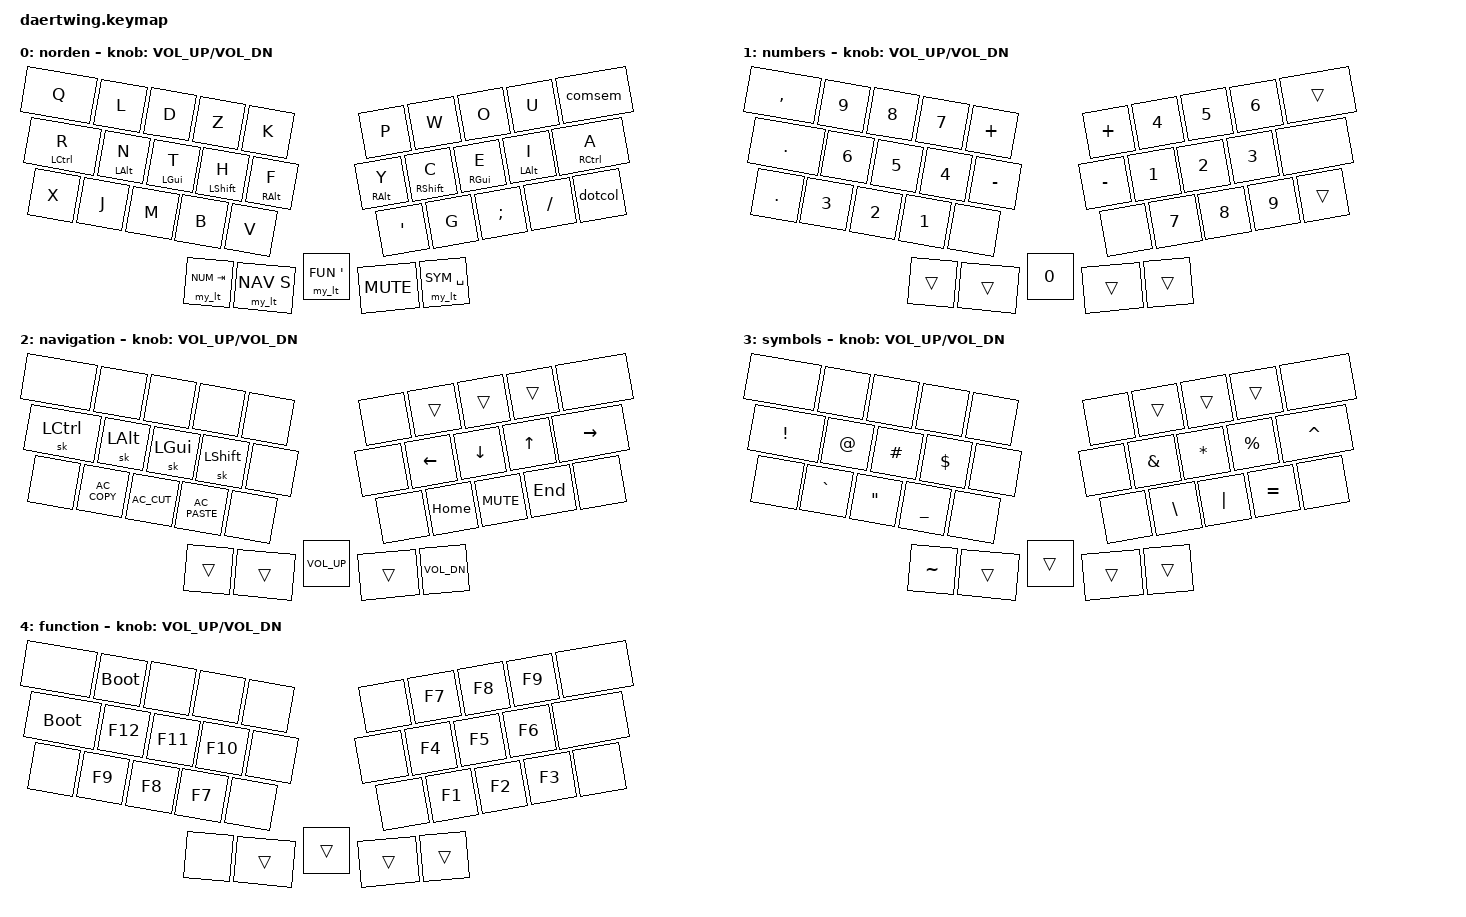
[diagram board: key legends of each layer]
#include <behaviors.dtsi>
#include <dt-bindings/zmk/keys.h>

#define NOR 0
#define NUM 1
#define NAV 2
#define SYM 3
#define FUN 4


&caps_word {
    continue-list = <UNDERSCORE MINUS BSPC LSHFT RSHFT>;
};

/ {
    macros {
        macro_shiftable_sch: macro_shiftable_sch {
            compatible = "zmk,behavior-macro";
            #binding-cells = <0>;
            bindings = <
                    &macro_tap &kp S
                    &macro_release &kp RSHIFT
                    &macro_tap &kp C &kp H
            >;
            tap-ms = <10>;
        };
    };
};


#define COMBO(NAME, BINDINGS, KEYPOS) \
combo_##NAME { \
    timeout-ms = <20>; \
    bindings = <BINDINGS>; \
    key-positions = <KEYPOS>; \
};
#define SLOWCOMBO(NAME, BINDINGS, KEYPOS) \
combo_##NAME { \
    timeout-ms = <40>; \
    bindings = <BINDINGS>; \
    key-positions = <KEYPOS>; \
};
#define TCOMBO(NAME, BINDINGS, KEYPOS, TIMEOUT) \
combo_##NAME { \
    timeout-ms = <TIMEOUT>; \
    bindings = <BINDINGS>; \
    key-positions = <KEYPOS>; \
};

//  _______________________________________________________________________________
// |_    00  \  01  \  02  \  03  \  04  \   /  05  /  06  /  07  /  08  /  09    _|
//   |_   10  |  11  |  12  |  13  |  14  | |  15  |  16  |  17  |  18  |  19   _|
//     | 20  /  21  /  22  /  23  /  24  /   \  25  \  26  \  27  \  28  \  29 |
//      -------------------|  30  |  31 | ENC | 33  |  34  |-------------------
//                                         32

/{
    combos {
        compatible = "zmk,combos";
/* usually on base layer */
        COMBO(q, &kp Q, 1 2)
        COMBO(v, &kp V, 2 3)
        COMBO(x, &kp X, 21 22)
        COMBO(shiftablesch, &macro_shiftable_sch, 1 3)
        COMBO(slash, &kp SLASH, 27 28)
        COMBO(minus, &kp MINUS, 26 27)
        COMBO(semi, &kp SEMICOLON, 27 34)
        COMBO(colon, &kp COLON, 28 34)
/* parentheticals */
        COMBO(lbrc, &kp LBRC, 1 11)
        COMBO(lbkt, &kp LBKT, 2 12)
        COMBO(lpar, &kp LPAR, 3 13)
        COMBO(lt, &kp LT, 4 14)
        COMBO(rt, &kp GT, 5 15)
        COMBO(rpar, &kp RPAR, 6 16)
        COMBO(rbkt, &kp RBKT, 7 17)
        COMBO(rbrc, &kp RBRC, 8 18)
/* whitespace etc */
        COMBO(tab, &kp TAB, 5 6)
        COMBO(esc, &kp ESC, 22 23)
        COMBO(enter, &kp ENTER, 26 28)
/* deletion */
        COMBO(bspc, &kp BSPC, 6 7)
        SLOWCOMBO(del, &kp DEL, 7 8)
        COMBO(delword, &kp LC(BSPC), 6 8)
/* special shifting */
        COMBO(loss, &sk LSFT, 11 13)
        COMBO(ross, &sk RSFT, 16 18)
        COMBO(caps, &caps_word, 13 16)
        COMBO(capslock, &kp CAPSLOCK, 1 8)
    };
};

//  _______________________________________________________________________________
// |_    00  \  01  \  02  \  03  \  04  \   /  05  /  06  /  07  /  08  /  09    _|
//   |_   10  |  11  |  12  |  13  |  14  | |  15  |  16  |  17  |  18  |  19   _|
//     | 20  /  21  /  22  /  23  /  24  /   \  25  \  26  \  27  \  28  \  29 |
//      -------------------|  30  |  31 | ENC | 32  |  33  |-------------------

/ {
    behaviors {
        hl: homerow_mods_left {
            compatible = "zmk,behavior-hold-tap";
            #binding-cells = <2>;
            flavor = "balanced";
            tapping-term-ms = <150>;
            quick-tap-ms = <100>;
            bindings = <&kp>, <&kp>;
            // opposite side hand keys
            hold-trigger-key-positions = <5 6 7 8 9 15 16 17 18 19 25 26 27 28 29 30 31 32 33>;
        };
        hr: homerow_mods_right {
            compatible = "zmk,behavior-hold-tap";
            #binding-cells = <2>;
            flavor = "balanced";
            tapping-term-ms = <150>;
            quick-tap-ms = <100>;
            bindings = <&kp>, <&kp>;
            // opposite side hand keys
            hold-trigger-key-positions = <0 1 2 3 4 10 11 12 13 14 20 21 22 23 24 30 31 32 33>;
        };

        my_lt: my_layer_taps {
            compatible = "zmk,behavior-hold-tap";
            #binding-cells = <2>;
            flavor = "tap-preferred";
            tapping-term-ms = <160>;
            quick-tap-ms = <100>;
            bindings = <&mo &kp>, <&kp>;
        };
        dotcol: dot_colon {
            compatible = "zmk,behavior-mod-morph";
            #binding-cells = <0>;
            bindings = <&kp DOT>, <&kp COLON>;
            mods = <(MOD_LSFT|MOD_RSFT)>;
        };
        comsem: comma_semicolon {
            compatible = "zmk,behavior-mod-morph";
            #binding-cells = <0>;
            bindings = <&kp COMMA>, <&kp SEMI>;
            mods = <(MOD_LSFT|MOD_RSFT)>;
        };
    };
};


/ {
    keymap {
        compatible = "zmk,keymap";

        norden {
            bindings = <
                &kp Q          &kp L          &kp D          &kp Z          &kp K                      &kp P            &kp W          &kp O          &kp U          &comsem
                &hl LCTRL R    &hl LALT N     &hl LGUI T     &hl LSHFT H    &hl RALT F                 &hr RALT Y       &hr RSHFT C    &hr RGUI E     &hr LALT I     &hr RCTRL A
                &kp X          &kp J          &kp M          &kp B          &kp V                      &kp SQT          &kp G          &kp SEMI       &kp SLASH      &dotcol
                                                             &my_lt NUM TAB &my_lt NAV S   &kp C_MUTE  &my_lt SYM SPACE &my_lt FUN SQT
            >;
            sensor-bindings = <&inc_dec_kp C_VOL_UP C_VOL_DN>;
        };
        numbers {
            bindings = <
                &kp COMMA      &kp N9         &kp N8         &kp N7         &kp PLUS                   &kp PLUS       &kp N4         &kp N5         &kp N6         &trans
                &kp DOT        &kp N6         &kp N5         &kp N4         &kp MINUS                  &kp MINUS      &kp N1         &kp N2         &kp N3         &none
                &kp DOT        &kp N3         &kp N2         &kp N1         &none                      &none          &kp N7         &kp N8         &kp N9         &trans
                                                             &trans         &trans         &trans      &trans         &kp N0 
            >;
            sensor-bindings = <&inc_dec_kp C_VOL_UP C_VOL_DN>;
        };
        navigation {
            bindings = <
                &none          &none          &none          &none          &none                      &none          &trans         &trans         &trans         &none
                &sk LCTRL      &sk LALT       &sk LGUI       &sk LSHFT      &none                      &none          &kp LEFT       &kp DOWN       &kp UP         &kp RIGHT
                &none          &kp C_AC_COPY  &kp C_AC_CUT   &kp C_AC_PASTE &none                      &none          &kp HOME       &kp C_MUTE     &kp END        &none
                                                             &trans         &trans         &trans      &kp C_VOL_DN   &kp C_VOL_UP
            >;
            sensor-bindings = <&inc_dec_kp C_VOL_UP C_VOL_DN>;
        };
        symbols {
            bindings = <
                &none          &none          &none          &none          &none                      &none          &trans         &trans         &trans         &none
                &kp EXCL       &kp AT         &kp HASH       &kp DOLLAR     &none                      &none          &kp AMPERSAND  &kp ASTERISK   &kp PERCENT    &kp CARET
                &none          &kp GRAVE      &kp DQT        &kp UNDERSCORE &none                      &none          &kp BACKSLASH  &kp PIPE       &kp EQUAL      &none
                                                             &kp TILDE      &trans         &trans      &trans         &trans
            >;
            sensor-bindings = <&inc_dec_kp C_VOL_UP C_VOL_DN>;
        };
        function {
            bindings = <
                &none          &bootloader    &none          &none          &none                      &none          &kp F7         &kp F8         &kp F9         &none
                &bootloader    &kp F12        &kp F11        &kp F10        &none                      &none          &kp F4         &kp F5         &kp F6         &none
                &none          &kp F9         &kp F8         &kp F7         &none                      &none          &kp F1         &kp F2         &kp F3         &none
                                                             &none          &trans         &trans      &trans         &trans
            >;
            sensor-bindings = <&inc_dec_kp C_VOL_UP C_VOL_DN>;
        };

    };
};
